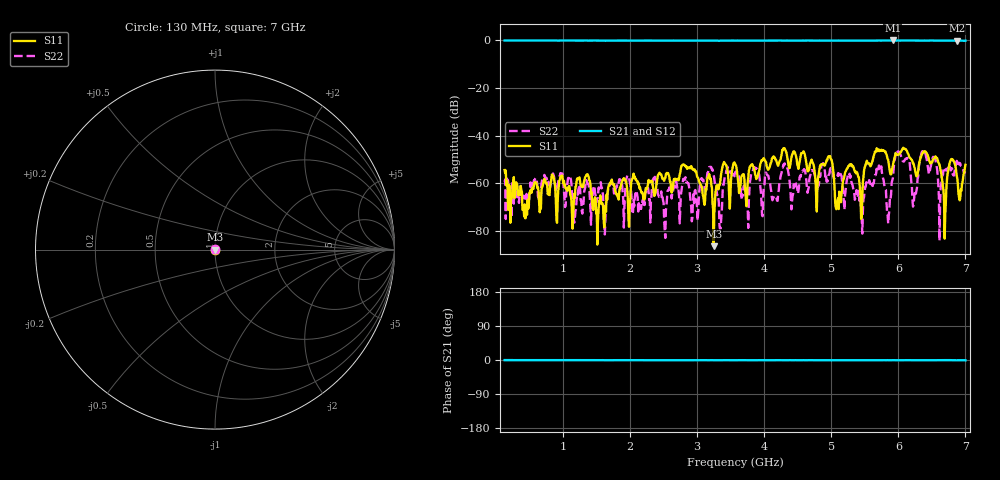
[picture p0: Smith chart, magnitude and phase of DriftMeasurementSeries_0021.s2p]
# Hz S RI R 50.000000
! Metas.Vna.Tools, 2.8.8664.20301
! Metas.Vna.Data, 2.8.8664.20285
! Created: UTC 2024.02.11 10:08:12
! FREQ  re:S1,1  im:S1,1  re:S2,1  im:S2,1  re:S1,2  im:S1,2  re:S2,2  im:S2,2
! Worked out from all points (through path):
!   801 points, 130 MHz to 7 GHz, reference 50 ohm
!   highest |S21| = 0.01 dB at 5.918 GHz (marker M1); lowest = -0.1 dB at 6.871 GHz (marker M2)
!   lowest |S11| = -86.5 dB at 3.247 GHz (marker M3), VSWR 1.00, Z = 50 + j0.00447 ohm
!   |S11| at or under -10 dB: start of sweep to end of sweep
!   |S22| runs from -84.1 to -46.1 dB; largest |S21 - S12| = 0.013
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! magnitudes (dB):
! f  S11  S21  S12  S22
! 130 MHz  -54.5  0.0  0.0  -59.5
! 430.6 MHz  -68.9  0.0  0.0  -66.4
! 1.281 GHz  -61.1  0.0  0.0  -71.8
! 1.607 GHz  -75.4  0.0  0.0  -73.1
! 2.423 GHz  -56.4  -0.1  0.0  -64.9
! 3.247 GHz  -86.5  -0.1  0.0  -56.5
! 3.342 GHz  -60.1  -0.1  0.0  -79.3
! 3.565 GHz  -52.0  0.0  0.0  -55.4
! 3.745 GHz  -65.3  -0.1  0.0  -67.8
! 3.866 GHz  -56.4  -0.1  0.0  -53.6
! 4.166 GHz  -50.1  0.0  0.0  -65.6
! 4.304 GHz  -45.3  -0.1  0.0  -51.6
! 4.716 GHz  -50.8  0.0  0.0  -54.7
! 4.982 GHz  -48.6  -0.1  0.0  -54.1
! 5.094 GHz  -68.0  -0.1  0.0  -56.9
! 5.282 GHz  -52.1  -0.1  0.0  -57.7
! 5.454 GHz  -74.1  -0.1  0.0  -74.5
! 5.712 GHz  -45.8  0.0  0.0  -52.5
! 5.858 GHz  -51.8  0.0  0.0  -73.3
! 5.918 GHz  -52.8  0.0  0.0  -57.9
! 6.871 GHz  -57.0  -0.1  0.0  -50.6
! 7 GHz  -52.3  -0.1  0.0  -55.6
